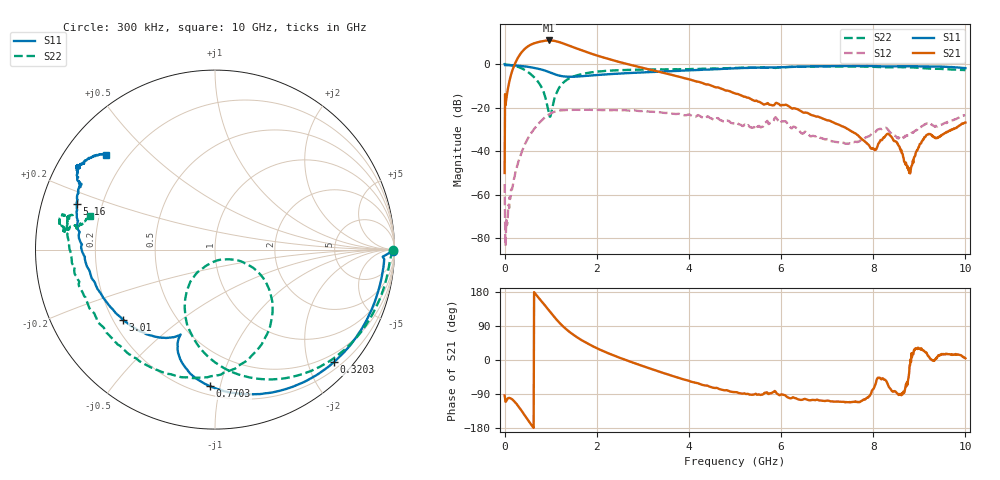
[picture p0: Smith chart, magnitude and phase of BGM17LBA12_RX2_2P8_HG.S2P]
!Agilent Technologies,E5071C,MY46316587,B.13.01
!Date: Fri Dec 08 10:55:30 2017
!Data & Calibration Information:
!Freq	S11:SOLT2(ON)	S21:SOLT2(ON)	S12:SOLT2(ON)	S22:SOLT2(ON)
!PortZ  Port1:50+j0  Port2:50+j0
!Above PortZ is port z conversion or system Z0 setting when saving the data.
!When reading, reference impedance value at option line is always used.
# Hz S dB R 50
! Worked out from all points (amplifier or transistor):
!   1001 points, 300 kHz to 10 GHz, reference 50 ohm
!   highest |S21| = 10.8 dB at 970.3 MHz (marker M1)
!   |S21| within 3 dB of that: 487 MHz to 1.478 GHz (990.7 MHz wide, 101 % of centre)
!   unconditionally stable (mu >= 1): start of sweep to end of sweep
!   at 1.66 GHz: K = 1.40, MAG = 9.9 dB, |S12| = -21.0 dB
!   at 5 GHz: K = 6.79, MAG = -4.4 dB, |S12| = -27.3 dB
!   at 10 GHz: K = 27.43, MAG = -19.1 dB, |S12| = -23.5 dB
!   lowest NFmin = 1.08 dB at 750 MHz
!   S11 on the Smith chart (normalised r, x): 300 kHz: open; 320.3 MHz: 0.33, -2.47; 770.3 MHz: 0.26, -0.93; 3.01 GHz: 0.24, -0.32; 5.16 GHz: 0.11, +0.16; 10 GHz: 0.12, +0.37
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300000  -0.06 -0.4  -49.96 -93.5  -55.06 -143.9  -0.07 -0.1
6.02982e7  -0.52 -8.8  -12.74 -103.2  -73.22 81.5  -0.29 -11.3
3.202904e8  -0.80 -43.5  3.94 -125.7  -43.45 158.8  -1.53 -56.8
5.00285e8  -1.25 -65.2  8.00 -157.3  -34.36 144.9  -3.57 -85.5
6.302811e8  -1.73 -79.0  9.44 -179.3  -30.11 131.6  -5.83 -103.4
7.702769e8  -2.36 -92.0  10.27 159.4  -26.57 116.7  -9.51 -120.0
9.702709e8  -3.72 -106.7  10.82 129.7  -22.96 93.1  -23.47 -94.5
1.130266e9  -4.98 -111.7  10.37 106.2  -21.61 73.6  -13.07 -25.2
1.32026e9  -5.75 -112.1  9.07 83.0  -21.13 56.1  -7.71 -40.2
1.67025e9  -5.59 -113.5  6.32 52.4  -20.99 35.5  -4.60 -63.8
2.240233e9  -4.69 -123.1  2.40 18.3  -21.11 15.5  -3.09 -89.4
3.01021e9  -3.82 -142.5  -1.81 -16.4  -21.61 -5.5  -2.57 -116.5
3.3402e9  -3.51 -152.2  -3.47 -30.0  -22.09 -14.2  -2.47 -128.3
5.00015e9  -1.94 164.5  -13.45 -85.0  -27.29 -37.4  -1.79 177.5
5.160145e9  -1.81 161.8  -14.66 -88.9  -28.41 -36.7  -1.65 174.3
5.890123e9  -1.61 154.3  -17.81 -85.2  -24.56 -35.9  -1.75 167.5
6.6701e9  -1.11 150.5  -23.45 -105.4  -33.05 -43.0  -1.13 167.2
8.00006e9  -0.93 148.5  -38.74 -76.5  -31.77 22.5  -1.25 171.3
8.34005e9  -1.07 149.2  -32.25 -71.2  -30.62 -7.1  -1.44 172.7
8.790036e9  -1.04 148.5  -49.64 -13.4  -32.20 28.2  -1.59 172.6
9.150026e9  -1.13 146.8  -32.71 19.9  -27.46 28.2  -1.99 170.6
1e10  -1.87 138.9  -26.85 4.4  -23.50 16.2  -2.82 165.2
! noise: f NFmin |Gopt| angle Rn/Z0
6.5e+08  1.156  0.5536  67.36  0.325
7e+08  1.091  0.5285  72.44  0.2265
7.5e+08  1.077  0.5039  75.62  0.2198
8e+08  1.096  0.52  77.24  0.224
8.5e+08  1.102  0.5001  79.44  0.214
9e+08  1.135  0.497  81  0.2067
9.5e+08  1.148  0.4789  85.26  0.2101
1e+09  1.177  0.4489  88.81  0.1904
